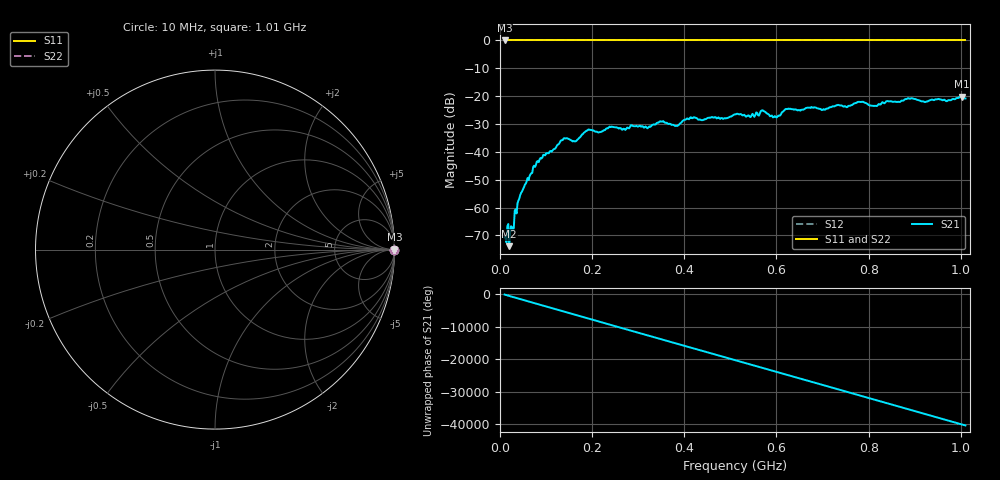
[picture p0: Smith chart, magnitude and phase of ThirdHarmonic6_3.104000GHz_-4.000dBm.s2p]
! 8/17/2025 9:09:52 AM
! C:\ANRITSUVNA\TEMP\TEMP.S2P
! CHANNEL.1
! TR.MEASUREMENT
! RAW.DATA
! RF.CORRECTION.OFF
! AVERAGING.OFF
! IF.BANDWIDTH: 5KHZ
! SWEEPTYPE:  FREQ.SWEEP(Linear)
! Reference Plane Port Info
! PORT:  PORT1  PORT2
! DISTANCE:  0  m  0  m
! TIME:  0  s  0  s
! PHASE.OFFSET:  0  deg.  0  deg.
! LOSS:  0  dB  0  dB
! REF.LOSS:  0  dB  0  dB
! REF.FREQ:  0  Hz  0  Hz
! Power Info
! POWER:  -20  dBm  -20  dBm
! EFF.POWER:  -20  dBm  -20  dBm
! SOURCE.ATTEN:  0  dB  0  dB
! TEST.ATTEN:  0  dB  0  dB
# GHZ S RI R 50.0
! FREQ.GHZ  S11RE  S11IM  S21RE  S21IM  S12RE  S12IM  S22RE  S22IM
!; PortSelection: Port_12
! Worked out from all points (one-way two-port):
!   501 points, 10 MHz to 1.01 GHz, reference 50 ohm
!   highest |S21| = -20.17 dB at 1.002 GHz (marker M1); lowest = -73.9 dB at 20 MHz (marker M2)
!   lowest |S11| = 0.0 dB at 10 MHz (marker M3)
!   |S11| at or under -10 dB: nowhere
!   |S22| runs from 0.0 to 0.0 dB; largest |S21 - S12| = 1.1
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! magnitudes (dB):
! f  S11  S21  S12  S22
! 10 MHz  0.0  -70.7  0.0  0.0
! 20 MHz  0.0  -73.9  0.0  0.0
! 24 MHz  0.0  -66.7  0.0  0.0
! 44 MHz  0.0  -55.5  0.0  0.0
! 76 MHz  0.0  -45.4  0.0  0.0
! 136 MHz  0.0  -35.8  0.0  0.0
! 162 MHz  0.0  -36.2  0.0  0.0
! 178 MHz  0.0  -33.8  0.0  0.0
! 194 MHz  0.0  -32.0  0.0  0.0
! 322 MHz  0.0  -31.2  0.0  0.0
! 344 MHz  0.0  -29.5  0.0  0.0
! 384 MHz  0.0  -30.7  0.0  0.0
! 416 MHz  0.0  -27.9  0.0  0.0
! 510 MHz  0.0  -26.5  0.0  0.0
! 548 MHz  0.0  -26.4  0.0  0.0
! 570 MHz  0.0  -25.1  0.0  0.0
! 596 MHz  0.0  -27.2  0.0  0.0
! 622 MHz  0.0  -24.6  0.0  0.0
! 678 MHz  0.0  -24.1  0.0  0.0
! 844 MHz  0.0  -21.9  0.0  0.0
! 1.002 GHz  0.0  -20.2  0.0  0.0
! 1.01 GHz  0.0  -20.8  0.0  0.0
